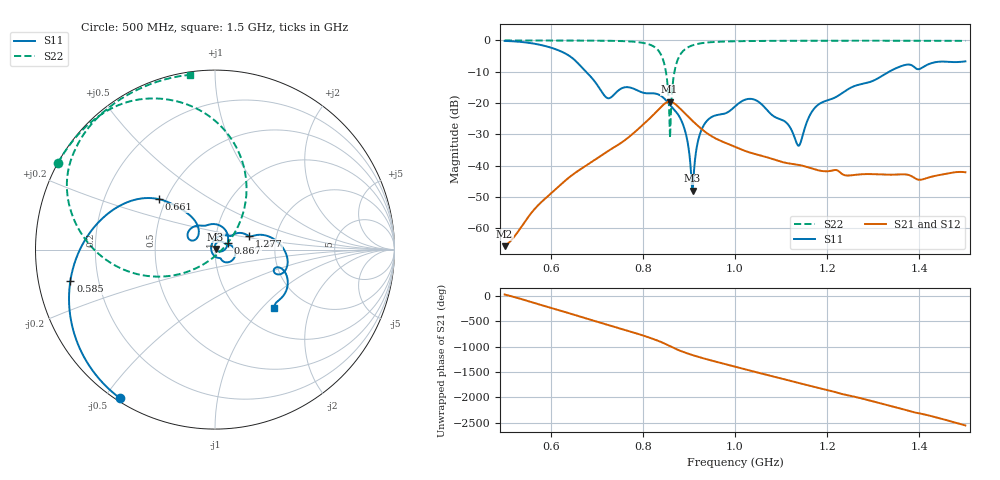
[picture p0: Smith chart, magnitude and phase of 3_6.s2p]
! TOUCHSTONE file generated by CST MICROWAVE STUDIO
! Date and time: Fri Oct  2 18:54:51 2020
! Project name: Scenario_1_Free_Space_out_of_line.cst
! Parameters = {Lambda=346.42; Step_1=17.321; dy1=312.958; dx1=1039; L_HA=400; MT=2.54; Rad_Dielectric=30; Rad_Lower=7.3; Rad_Upper=30; a_HA=580; a_WG=246; b_HA=500; b_WG=121; c_HA=0; c_WG=187; d_feed=85; h_feed=15; h_lower=18; h_upper=40}
! Header version: 2018
! Port assignment regex: !\s*Touchstone port\s*([0-9]+)\s*=\s*(CST MWS port|CST DS port)\s*([0-9]+|Zmin|Zmax)\s*\(\"(.*)\"\)(\s*mode\s*([0-9]+))?.*
! Touchstone port assignment:
! Touchstone port 1 = CST MWS port 1 ("")
! Touchstone port 2 = CST MWS port 2 ("")
# GHz S DB R 50
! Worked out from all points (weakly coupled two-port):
!   1003 points, 500 MHz to 1.5 GHz, reference 50 ohm
!   highest |S21| = -19.58 dB at 858 MHz (marker M1); lowest = -65.7 dB at 500 MHz (marker M2)
!   lowest |S11| = -48.0 dB at 908 MHz (marker M3), VSWR 1.01, Z = 50.3 + j0.279 ohm
!   |S11| at or under -10 dB: 676.7 MHz to 1.334 GHz (657.6 MHz wide, 65.4 % of centre)
!   |S22| runs from -31.1 to 0.0 dB; largest |S21 - S12| = 0.00011
!   S11 on the Smith chart (normalised r, x): 500 MHz: 0.01, -0.55; 585 MHz: 0.10, -0.11; 661 MHz: 0.46, +0.31; 867 MHz: 1.15, +0.08; 1.277 GHz: 1.44, +0.23; 1.5 GHz: 1.42, -1.17
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0.5  -0.15 -122.5  -65.70 27.1  -65.70 27.1  -0.01 151.2
0.585  -1.67 -167.7  -50.92 165.2  -50.92 165.2  -0.02 145.3
0.661  -7.56 137.9  -41.50 -40.8  -41.50 -40.8  -0.04 138.9
0.667  -8.51 134.9  -40.92 -57.3  -40.92 -57.3  -0.04 138.4
0.723  -18.40 142.2  -35.46 151.2  -35.46 151.2  -0.11 131.9
0.791  -16.15 120.7  -28.15 -32.7  -28.15 -32.7  -0.57 116.7
0.834  -17.27 78.7  -22.05 -167.8  -22.05 -167.8  -3.29 87.0
0.848  -18.76 54.9  -20.12 137.4  -20.12 137.4  -8.41 62.4
0.858  -20.45 39.7  -19.58 93.5  -19.58 93.5  -26.30 10.6
0.863  -21.28 32.8  -19.72 71.3  -19.72 71.3  -17.08 -134.3
0.867  -21.93 27.1  -20.01 54.1  -20.01 54.1  -11.42 -147.9
0.891  -28.55 -15.5  -23.26 -34.9  -23.26 -34.9  -2.88 176.1
0.908  -47.97 43.9  -25.71 -87.1  -25.71 -87.1  -1.55 164.4
0.92  -31.95 88.9  -27.34 -120.6  -27.35 -120.6  -1.07 158.8
0.933  -26.90 69.3  -28.94 -154.5  -28.94 -154.5  -0.76 154.0
1  -21.08 16.6  -33.99 43.7  -33.99 43.7  -0.27 140.4
1.048  -19.30 -38.0  -36.44 -67.9  -36.44 -67.9  -0.17 134.7
1.138  -33.64 -169.1  -39.75 85.0  -39.75 85.0  -0.11 126.6
1.167  -22.73 76.8  -40.91 17.3  -40.90 17.3  -0.10 124.3
1.277  -13.85 22.1  -42.72 133.8  -42.72 133.8  -0.09 115.9
1.334  -10.02 12.8  -42.89 0.5  -42.89 0.5  -0.09 111.6
1.5  -6.68 -44.6  -42.10 -33.5  -42.04 -33.4  -0.14 98.0
